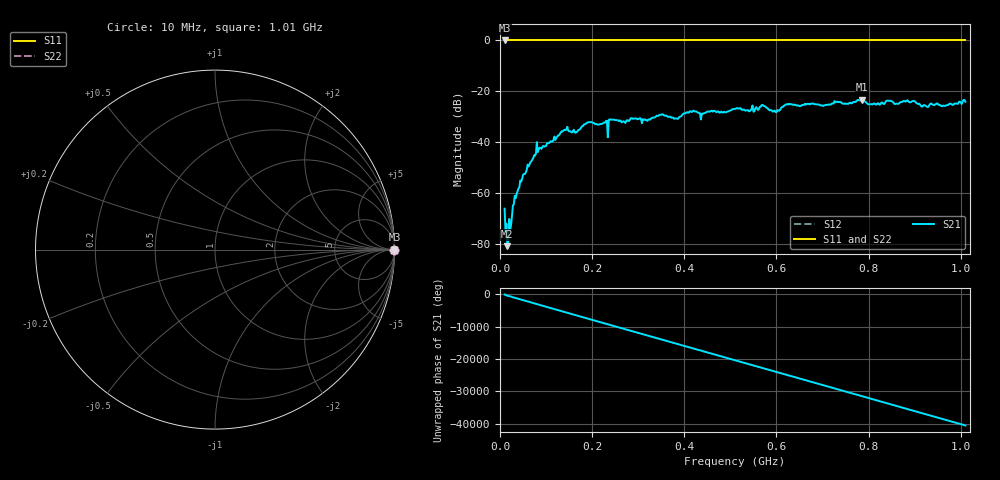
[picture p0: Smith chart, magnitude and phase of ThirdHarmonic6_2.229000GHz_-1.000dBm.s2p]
! 8/17/2025 2:31:32 AM
! C:\ANRITSUVNA\TEMP\TEMP.S2P
! CHANNEL.1
! TR.MEASUREMENT
! RAW.DATA
! RF.CORRECTION.OFF
! AVERAGING.OFF
! IF.BANDWIDTH: 5KHZ
! SWEEPTYPE:  FREQ.SWEEP(Linear)
! Reference Plane Port Info
! PORT:  PORT1  PORT2
! DISTANCE:  0  m  0  m
! TIME:  0  s  0  s
! PHASE.OFFSET:  0  deg.  0  deg.
! LOSS:  0  dB  0  dB
! REF.LOSS:  0  dB  0  dB
! REF.FREQ:  0  Hz  0  Hz
! Power Info
! POWER:  -20  dBm  -20  dBm
! EFF.POWER:  -20  dBm  -20  dBm
! SOURCE.ATTEN:  0  dB  0  dB
! TEST.ATTEN:  0  dB  0  dB
# GHZ S RI R 50.0
! FREQ.GHZ  S11RE  S11IM  S21RE  S21IM  S12RE  S12IM  S22RE  S22IM
!; PortSelection: Port_12
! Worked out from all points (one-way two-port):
!   501 points, 10 MHz to 1.01 GHz, reference 50 ohm
!   highest |S21| = -23.28 dB at 786 MHz (marker M1); lowest = -80.9 dB at 16 MHz (marker M2)
!   lowest |S11| = 0.0 dB at 10 MHz (marker M3)
!   |S11| at or under -10 dB: nowhere
!   |S22| runs from 0.0 to 0.0 dB; largest |S21 - S12| = 1.1
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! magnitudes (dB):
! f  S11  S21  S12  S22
! 10 MHz  0.0  -66.2  0.0  0.0
! 16 MHz  0.0  -80.9  0.0  0.0
! 20 MHz  0.0  -70.2  0.0  0.0
! 32 MHz  0.0  -61.1  0.0  0.0
! 48 MHz  0.0  -54.4  0.0  0.0
! 82 MHz  0.0  -43.9  0.0  0.0
! 142 MHz  0.0  -35.2  0.0  0.0
! 166 MHz  0.0  -36.0  0.0  0.0
! 178 MHz  0.0  -33.8  0.0  0.0
! 344 MHz  0.0  -29.6  0.0  0.0
! 382 MHz  0.0  -30.7  0.0  0.0
! 416 MHz  0.0  -28.2  0.0  0.0
! 440 MHz  0.0  -28.8  0.0  0.0
! 510 MHz  0.0  -26.9  0.0  0.0
! 572 MHz  0.0  -25.8  0.0  0.0
! 596 MHz  0.0  -27.6  0.0  0.0
! 624 MHz  0.0  -25.0  0.0  0.0
! 678 MHz  0.0  -24.8  0.0  0.0
! 786 MHz  0.0  -23.3  0.0  0.0
! 844 MHz  0.0  -23.8  0.0  0.0
! 926 MHz  0.0  -26.0  0.0  0.0
! 1.01 GHz  0.0  -24.1  0.0  0.0
